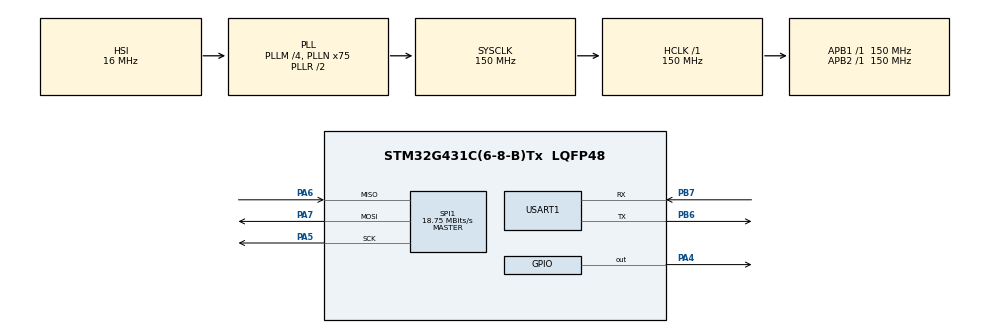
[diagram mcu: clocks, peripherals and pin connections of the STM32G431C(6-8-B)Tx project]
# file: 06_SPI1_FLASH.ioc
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Mcu.Family=STM32G4
Mcu.Name=STM32G431C(6-8-B)Tx
Mcu.Package=LQFP48
NVIC.PriorityGroup=NVIC_PRIORITYGROUP_4
PA13.Mode=Serial_Wire
PA13.Signal=SYS_JTMS-SWDIO
PA14.Mode=Serial_Wire
PA14.Signal=SYS_JTCK-SWCLK
PA4.Signal=GPIO_Output
PA5.Mode=Full_Duplex_Master
PA5.Signal=SPI1_SCK
PA6.Mode=Full_Duplex_Master
PA6.Signal=SPI1_MISO
PA7.Mode=Full_Duplex_Master
PA7.Signal=SPI1_MOSI
PB6.Mode=Asynchronous
PB6.Signal=USART1_TX
PB7.GPIO_PuPd=GPIO_PULLUP
PB7.Mode=Asynchronous
PB7.Signal=USART1_RX
PF0-OSC_IN.Mode=HSE-External-Clock-Source
PF0-OSC_IN.Signal=RCC_OSC_IN
ProjectManager.HeapSize=0x200
ProjectManager.StackSize=0x400
ProjectManager.TargetToolchain=STM32CubeIDE
RCC.ADC12Freq_Value=150000000
RCC.AHBFreq_Value=150000000
RCC.APB1Freq_Value=150000000
RCC.APB1TimFreq_Value=150000000
RCC.APB2Freq_Value=150000000
RCC.APB2TimFreq_Value=150000000
RCC.CortexFreq_Value=150000000
RCC.EXTERNAL_CLOCK_VALUE=12288000
RCC.HCLKFreq_Value=150000000
RCC.HSE_VALUE=8000000
RCC.HSI48_VALUE=48000000
RCC.HSI_VALUE=16000000
RCC.LSE_VALUE=32768
RCC.PLLM=RCC_PLLM_DIV4
RCC.PLLN=75
RCC.SYSCLKFreq_VALUE=150000000
RCC.SYSCLKSource=RCC_SYSCLKSOURCE_PLLCLK
RCC.USBFreq_Value=150000000
RCC.VCOOutputFreq_Value=300000000
SPI1.BaudRatePrescaler=SPI_BAUDRATEPRESCALER_8
SPI1.CalculateBaudRate=18.75 MBits/s
SPI1.DataSize=SPI_DATASIZE_8BIT
SPI1.Direction=SPI_DIRECTION_2LINES
SPI1.Mode=SPI_MODE_MASTER
SPI1.VirtualType=VM_MASTER
USART1.VirtualMode-Asynchronous=VM_ASYNC
board=custom

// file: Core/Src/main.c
/* USER CODE BEGIN Header */
/**
  ******************************************************************************
  * @file           : main.c
  * @brief          : Main program body
  ******************************************************************************
  * @attention
  *
  * Copyright (c) 2024 STMicroelectronics.
  * All rights reserved.
  *
  * This software is licensed under terms that can be found in the LICENSE file
  * in the root directory of this software component.
  * If no LICENSE file comes with this software, it is provided AS-IS.
  *
  ******************************************************************************
  */
/* USER CODE END Header */
#include "main.h"

/* USER CODE BEGIN Includes */
 #include <stdio.h>
 #include "flash.h"

/* USER CODE END Includes */

SPI_HandleTypeDef hspi1;

UART_HandleTypeDef huart1;

void SystemClock_Config(void);
static void MX_GPIO_Init(void);
static void MX_SPI1_Init(void);
static void MX_USART1_UART_Init(void);

/* USER CODE BEGIN 0 */
int __io_putchar(int ch)
{
	if(HAL_UART_Transmit(&huart1, (uint8_t *)&ch, 1, 10) != HAL_OK)
	{
		return -1;
	}
	return ch;
}

/* USER CODE END 0 */

int main(void)
{

  /* MCU Configuration--------------------------------------------------------*/

  /* Reset of all peripherals, Initializes the Flash interface and the Systick. */
  HAL_Init();

  /* Configure the system clock */
  SystemClock_Config();

  /* Initialize all configured peripherals */
  MX_GPIO_Init();
  MX_SPI1_Init();
  MX_USART1_UART_Init();
  /* USER CODE BEGIN 2 */
  printf("hello flash(spi1)\r\n");
  uint8_t buffer1[128];
  uint8_t buffer2[128];
  uint8_t compare_fail=0;
  flash_read_uniqID();
  flash_erase_sector(1);

	for(uint8_t i=0; i<128; i++)
	{
	  buffer1[i] = (128-i);
	}

	flash_write_sector(buffer1, 1, 0, 128);
	flash_read_sector(buffer2, 1, 0, 128);

	for(uint16_t i=0;i<128;i++)
	{
	  if(buffer1[i] != buffer2[i])
	  {
		  printf("flash verify failed %d[%02x:%02x]\r\n", i, buffer1[i], buffer2[i]);
		  compare_fail = 1;
		  break;
	  }
	}
	if(!compare_fail)
	{
	  printf("flash verify success\r\n");
	}
  /* USER CODE END 2 */

  /* Infinite loop */
  while (1)
  {

  }
}

void SystemClock_Config(void)
{
  RCC_OscInitTypeDef RCC_OscInitStruct = {0};
  RCC_ClkInitTypeDef RCC_ClkInitStruct = {0};

  /** Configure the main internal regulator output voltage
  */
  HAL_PWREx_ControlVoltageScaling(PWR_REGULATOR_VOLTAGE_SCALE1);

  /** Initializes the RCC Oscillators according to the specified parameters
  * in the RCC_OscInitTypeDef structure.
  */
  RCC_OscInitStruct.OscillatorType = RCC_OSCILLATORTYPE_HSI;
  RCC_OscInitStruct.HSIState = RCC_HSI_ON;
  RCC_OscInitStruct.HSICalibrationValue = RCC_HSICALIBRATION_DEFAULT;
  RCC_OscInitStruct.PLL.PLLState = RCC_PLL_ON;
  RCC_OscInitStruct.PLL.PLLSource = RCC_PLLSOURCE_HSI;
  RCC_OscInitStruct.PLL.PLLM = RCC_PLLM_DIV4;
  RCC_OscInitStruct.PLL.PLLN = 75;
  RCC_OscInitStruct.PLL.PLLP = RCC_PLLP_DIV2;
  RCC_OscInitStruct.PLL.PLLQ = RCC_PLLQ_DIV2;
  RCC_OscInitStruct.PLL.PLLR = RCC_PLLR_DIV2;
  if (HAL_RCC_OscConfig(&RCC_OscInitStruct) != HAL_OK)
  {
    Error_Handler();
  }

  /** Initializes the CPU, AHB and APB buses clocks
  */
  RCC_ClkInitStruct.ClockType = RCC_CLOCKTYPE_HCLK|RCC_CLOCKTYPE_SYSCLK
                              |RCC_CLOCKTYPE_PCLK1|RCC_CLOCKTYPE_PCLK2;
  RCC_ClkInitStruct.SYSCLKSource = RCC_SYSCLKSOURCE_PLLCLK;
  RCC_ClkInitStruct.AHBCLKDivider = RCC_SYSCLK_DIV1;
  RCC_ClkInitStruct.APB1CLKDivider = RCC_HCLK_DIV1;
  RCC_ClkInitStruct.APB2CLKDivider = RCC_HCLK_DIV1;

  if (HAL_RCC_ClockConfig(&RCC_ClkInitStruct, FLASH_LATENCY_4) != HAL_OK)
  {
    Error_Handler();
  }
}

static void MX_SPI1_Init(void)
{

  /* SPI1 parameter configuration*/
  hspi1.Instance = SPI1;
  hspi1.Init.Mode = SPI_MODE_MASTER;
  hspi1.Init.Direction = SPI_DIRECTION_2LINES;
  hspi1.Init.DataSize = SPI_DATASIZE_8BIT;
  hspi1.Init.CLKPolarity = SPI_POLARITY_LOW;
  hspi1.Init.CLKPhase = SPI_PHASE_1EDGE;
  hspi1.Init.NSS = SPI_NSS_SOFT;
  hspi1.Init.BaudRatePrescaler = SPI_BAUDRATEPRESCALER_8;
  hspi1.Init.FirstBit = SPI_FIRSTBIT_MSB;
  hspi1.Init.TIMode = SPI_TIMODE_DISABLE;
  hspi1.Init.CRCCalculation = SPI_CRCCALCULATION_DISABLE;
  hspi1.Init.CRCPolynomial = 7;
  hspi1.Init.CRCLength = SPI_CRC_LENGTH_DATASIZE;
  hspi1.Init.NSSPMode = SPI_NSS_PULSE_ENABLE;
  if (HAL_SPI_Init(&hspi1) != HAL_OK)
  {
    Error_Handler();
  }

}

static void MX_USART1_UART_Init(void)
{

  huart1.Instance = USART1;
  huart1.Init.BaudRate = 115200;
  huart1.Init.WordLength = UART_WORDLENGTH_8B;
  huart1.Init.StopBits = UART_STOPBITS_1;
  huart1.Init.Parity = UART_PARITY_NONE;
  huart1.Init.Mode = UART_MODE_TX_RX;
  huart1.Init.HwFlowCtl = UART_HWCONTROL_NONE;
  huart1.Init.OverSampling = UART_OVERSAMPLING_16;
  huart1.Init.OneBitSampling = UART_ONE_BIT_SAMPLE_DISABLE;
  huart1.Init.ClockPrescaler = UART_PRESCALER_DIV1;
  huart1.AdvancedInit.AdvFeatureInit = UART_ADVFEATURE_NO_INIT;
  if (HAL_UART_Init(&huart1) != HAL_OK)
  {
    Error_Handler();
  }
  if (HAL_UARTEx_SetTxFifoThreshold(&huart1, UART_TXFIFO_THRESHOLD_1_8) != HAL_OK)
  {
    Error_Handler();
  }
  if (HAL_UARTEx_SetRxFifoThreshold(&huart1, UART_RXFIFO_THRESHOLD_1_8) != HAL_OK)
  {
    Error_Handler();
  }
  if (HAL_UARTEx_DisableFifoMode(&huart1) != HAL_OK)
  {
    Error_Handler();
  }

}

static void MX_GPIO_Init(void)
{
  GPIO_InitTypeDef GPIO_InitStruct = {0};

  /* GPIO Ports Clock Enable */
  __HAL_RCC_GPIOF_CLK_ENABLE();
  __HAL_RCC_GPIOA_CLK_ENABLE();
  __HAL_RCC_GPIOB_CLK_ENABLE();

  /*Configure GPIO pin Output Level */
  HAL_GPIO_WritePin(GPIOA, GPIO_PIN_4, GPIO_PIN_RESET);

  /*Configure GPIO pin : PA4 */
  GPIO_InitStruct.Pin = GPIO_PIN_4;
  GPIO_InitStruct.Mode = GPIO_MODE_OUTPUT_PP;
  GPIO_InitStruct.Pull = GPIO_NOPULL;
  GPIO_InitStruct.Speed = GPIO_SPEED_FREQ_LOW;
  HAL_GPIO_Init(GPIOA, &GPIO_InitStruct);

}

void Error_Handler(void)
{
  __disable_irq();
  while (1)
  {
  }
}
